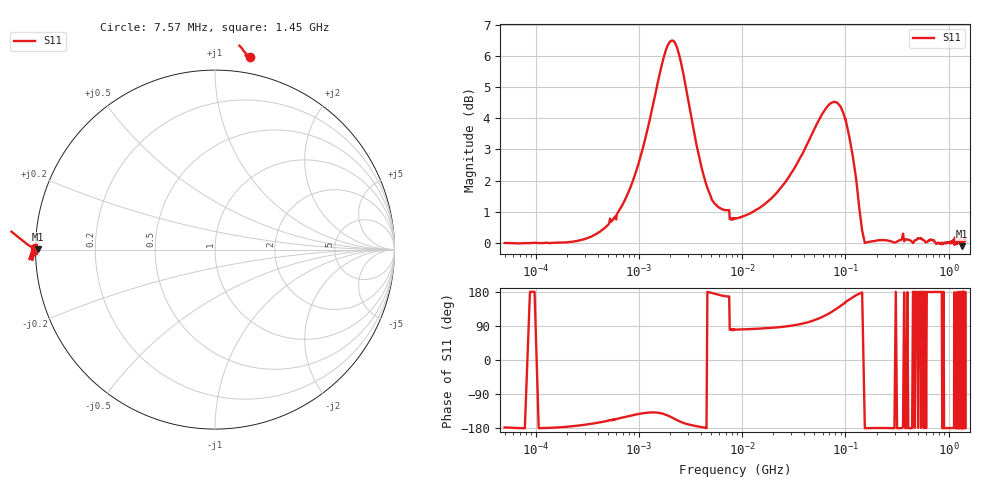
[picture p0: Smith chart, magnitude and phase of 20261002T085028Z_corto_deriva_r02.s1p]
! piloto_deriva / corto_deriva / r02
# HZ S RI R 50
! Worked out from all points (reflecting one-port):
!   501 points, 50 kHz to 1.45 GHz, reference 50 ohm
!   lowest |S11| = -0.1 dB at 1.351 GHz (marker M1), VSWR 167.25, Z = 0.299 + j0.0304 ohm
!   phase of S11 starts at -178 deg and turns -2 deg over the sweep
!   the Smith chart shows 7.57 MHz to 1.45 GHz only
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50000  -0.999 -0.0379
183000  -0.9997 -0.0518
363500  -1.004 -0.223
658000  -1.014 -0.5097
1180000  -1.134 -0.9738
1630000  -1.466 -1.21
1990000  -1.801 -1.082
2170000  -1.898 -0.9173
2440000  -1.9 -0.6465
3070000  -1.636 -0.2717
4330000  -1.265 -0.0307
7300000  -1.102 0.2428
7750000  0.1937 1.074
8560000  0.1878 1.078
1.9e7  0.1096 1.172
3.16e7  -0.0343 1.313
4.69e7  -0.3236 1.454
6.76e7  -0.861 1.419
7.93e7  -1.14 1.238
9.37e7  -1.355 0.8994
9.82e7  -1.386 0.7827
1e8  -1.41 0.7166
1.18e8  -1.332 0.3404
1.36e8  -1.134 0.0998
1.63e8  -1.002 -0.00396
4.06e8  -1.012 -0.00356
1.351e9  -0.9881 0.0012
1.45e9  -1.009 -0.00852
